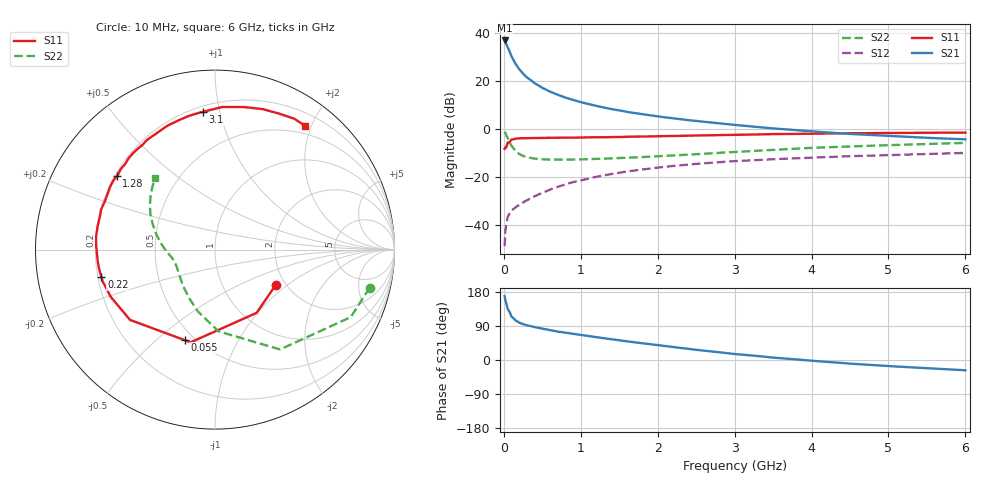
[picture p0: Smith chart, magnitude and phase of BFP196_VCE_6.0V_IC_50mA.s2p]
! Infineon Technologies  Discrete & RF Semiconductors
! BFP196
! VCE = 6.0 V,  IC =  50mA
! Common Emitter S-Parameters:  Jan 2016
# GHz  S  MA  R  50
!  f  S11  S21  S12  S22
! GHz  MAG  ANG  MAG  ANG  MAG  ANG  MAG  ANG
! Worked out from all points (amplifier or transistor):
!   210 points, 10 MHz to 6 GHz, reference 50 ohm
!   highest |S21| = 37.0 dB at 10 MHz (marker M1)
!   |S21| within 3 dB of that: start of sweep to 53.07 MHz
!   unconditionally stable (mu >= 1): 491.5 MHz to 4.482 GHz
!   at 185 MHz: K = 0.69, MSG = 28.8 dB, |S12| = -31.8 dB
!   at 1.52 GHz: K = 1.08, MAG = 11.1 dB, |S12| = -18.0 dB
!   at 6 GHz: K = 0.97, MSG = 2.8 dB, |S12| = -9.8 dB
!   S11 on the Smith chart (normalised r, x): 10 MHz: 1.77, -0.83; 55 MHz: 0.44, -0.62; 220 MHz: 0.21, -0.11; 1.28 GHz: 0.21, +0.32; 3.1 GHz: 0.24, +0.89; 6 GHz: 0.38, +1.91
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0.01  0.3914 -30.4  70.56 168.7  0.0037 80.5  0.8876 -13.8
0.02  0.4219 -56.6  66.11 157.6  0.0076 74.2  0.8449 -26.4
0.05  0.5341 -104.7  51.22 134.4  0.0151 56.3  0.664 -56.9
0.055  0.5318 -108.6  49.18 133.1  0.0156 55.3  0.6373 -59.0
0.1  0.6145 -140.4  32.66 114.4  0.0202 48.4  0.456 -87.5
0.15  0.6377 -155.6  23.15 104.6  0.0237 48.1  0.3574 -105.5
0.2  0.6501 -164.0  17.79 98.5  0.0267 50.0  0.3077 -117.7
0.22  0.651 -166.5  16.38 97.1  0.028 51.2  0.2954 -121.2
0.26  0.6548 -171.1  13.83 93.9  0.0306 53.2  0.2759 -128.3
0.3  0.6566 -174.5  12.01 91.4  0.0334 54.9  0.264 -133.6
0.4  0.6625 178.2  9.104 86.7  0.0404 57.8  0.2457 -143.5
0.5  0.6666 173.5  7.289 82.6  0.0477 59.9  0.2377 -150.1
0.6  0.6667 168.5  6.082 78.8  0.0557 61.1  0.2343 -154.5
0.7  0.6667 164.0  5.23 75.0  0.0633 61.3  0.2339 -158.0
0.82  0.672 159.8  4.471 71.5  0.073 61.0  0.2341 -161.3
1.02  0.6749 152.0  3.608 65.4  0.0882 59.8  0.2369 -165.3
1.28  0.683 143.2  2.883 58.0  0.1087 57.3  0.2444 -169.5
2.02  0.7191 121.5  1.836 38.7  0.161 47.3  0.2763 -179.8
3.1  0.7707 94.9  1.194 14.1  0.2213 31.6  0.3444 163.8
4.1  0.8127 77.0  0.884 -3.5  0.2607 19.2  0.417 149.9
5.1  0.8396 63.6  0.715 -17.2  0.2942 8.1  0.473 139.0
6  0.853 53.8  0.619 -27.1  0.3224 -1.8  0.5209 129.7
